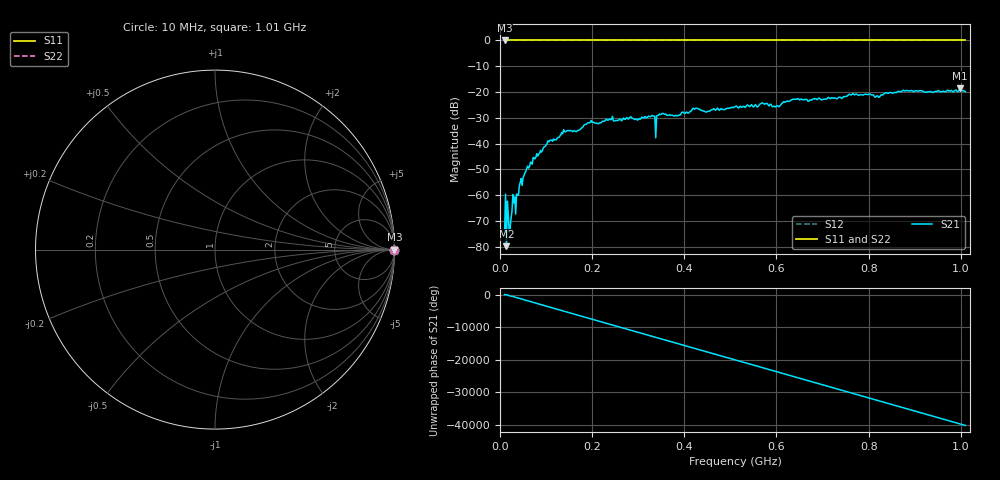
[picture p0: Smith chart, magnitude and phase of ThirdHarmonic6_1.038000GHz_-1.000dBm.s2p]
! 8/16/2025 8:58:46 AM
! C:\ANRITSUVNA\TEMP\TEMP.S2P
! CHANNEL.1
! TR.MEASUREMENT
! RAW.DATA
! RF.CORRECTION.OFF
! AVERAGING.OFF
! IF.BANDWIDTH: 5KHZ
! SWEEPTYPE:  FREQ.SWEEP(Linear)
! Reference Plane Port Info
! PORT:  PORT1  PORT2
! DISTANCE:  0  m  0  m
! TIME:  0  s  0  s
! PHASE.OFFSET:  0  deg.  0  deg.
! LOSS:  0  dB  0  dB
! REF.LOSS:  0  dB  0  dB
! REF.FREQ:  0  Hz  0  Hz
! Power Info
! POWER:  -20  dBm  -20  dBm
! EFF.POWER:  -20  dBm  -20  dBm
! SOURCE.ATTEN:  0  dB  0  dB
! TEST.ATTEN:  0  dB  0  dB
# GHZ S RI R 50.0
! FREQ.GHZ  S11RE  S11IM  S21RE  S21IM  S12RE  S12IM  S22RE  S22IM
!; PortSelection: Port_12
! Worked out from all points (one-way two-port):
!   501 points, 10 MHz to 1.01 GHz, reference 50 ohm
!   highest |S21| = -18.57 dB at 998 MHz (marker M1); lowest = -79.8 dB at 14 MHz (marker M2)
!   lowest |S11| = 0.0 dB at 10 MHz (marker M3)
!   |S11| at or under -10 dB: nowhere
!   |S22| runs from 0.0 to 0.0 dB; largest |S21 - S12| = 1.1
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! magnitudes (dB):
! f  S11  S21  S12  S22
! 10 MHz  0.0  -74.4  0.0  0.0
! 14 MHz  0.0  -79.8  0.0  0.0
! 18 MHz  0.0  -67.5  0.0  0.0
! 20 MHz  0.0  -74.4  0.0  0.0
! 22 MHz  0.0  -72.8  0.0  0.0
! 28 MHz  0.0  -59.8  0.0  0.0
! 38 MHz  0.0  -59.9  0.0  0.0
! 46 MHz  0.0  -53.5  0.0  0.0
! 76 MHz  0.0  -45.9  0.0  0.0
! 136 MHz  0.0  -36.2  0.0  0.0
! 178 MHz  0.0  -33.8  0.0  0.0
! 240 MHz  0.0  -30.7  0.0  0.0
! 332 MHz  0.0  -29.2  0.0  0.0
! 338 MHz  0.0  -37.8  0.0  0.0
! 344 MHz  0.0  -29.0  0.0  0.0
! 510 MHz  0.0  -25.7  0.0  0.0
! 602 MHz  0.0  -25.3  0.0  0.0
! 636 MHz  0.0  -22.7  0.0  0.0
! 678 MHz  0.0  -22.8  0.0  0.0
! 844 MHz  0.0  -20.4  0.0  0.0
! 998 MHz  0.0  -18.6  0.0  0.0
! 1.01 GHz  0.0  -19.8  0.0  0.0
